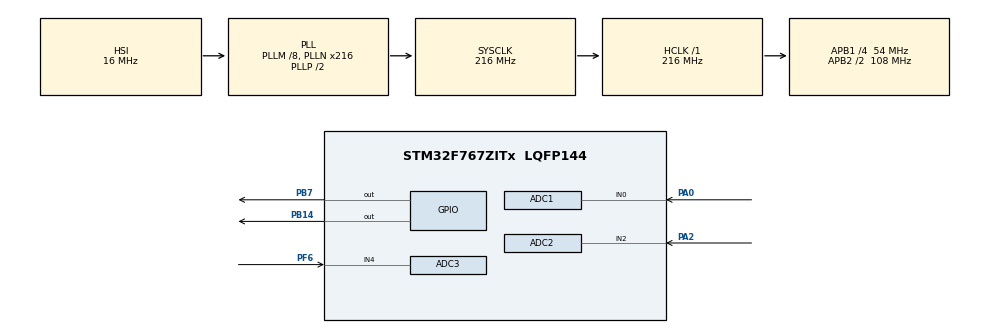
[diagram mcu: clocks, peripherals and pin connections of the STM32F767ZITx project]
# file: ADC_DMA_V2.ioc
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ADC1.Channel-0\#ChannelRegularConversion=ADC_CHANNEL_0
ADC1.DMAAccessMode=ADC_DMAACCESSMODE_1
ADC1.Mode=ADC_TRIPLEMODE_REGSIMULT
ADC1.NbrOfConversionFlag=1
ADC1.Rank-0\#ChannelRegularConversion=1
ADC1.SamplingTime-0\#ChannelRegularConversion=ADC_SAMPLETIME_3CYCLES
ADC1.master=1
ADC2.Channel-0\#ChannelRegularConversion=ADC_CHANNEL_2
ADC2.DMAAccessMode=ADC_DMAACCESSMODE_1
ADC2.Mode=ADC_TRIPLEMODE_REGSIMULT
ADC2.NbrOfConversionFlag=1
ADC2.Rank-0\#ChannelRegularConversion=1
ADC2.SamplingTime-0\#ChannelRegularConversion=ADC_SAMPLETIME_3CYCLES
ADC3.Channel-0\#ChannelRegularConversion=ADC_CHANNEL_4
ADC3.DMAAccessMode=ADC_DMAACCESSMODE_1
ADC3.Mode=ADC_TRIPLEMODE_REGSIMULT
ADC3.NbrOfConversionFlag=1
ADC3.Rank-0\#ChannelRegularConversion=1
ADC3.SamplingTime-0\#ChannelRegularConversion=ADC_SAMPLETIME_3CYCLES
Dma.ADC1.2.Direction=DMA_PERIPH_TO_MEMORY
Dma.ADC1.2.FIFOMode=DMA_FIFOMODE_DISABLE
Dma.ADC1.2.Instance=DMA2_Stream0
Dma.ADC1.2.MemDataAlignment=DMA_MDATAALIGN_HALFWORD
Dma.ADC1.2.MemInc=DMA_MINC_ENABLE
Dma.ADC1.2.Mode=DMA_CIRCULAR
Dma.ADC1.2.PeriphDataAlignment=DMA_PDATAALIGN_HALFWORD
Dma.ADC1.2.PeriphInc=DMA_PINC_DISABLE
Dma.ADC1.2.Priority=DMA_PRIORITY_LOW
Dma.ADC2.1.Direction=DMA_PERIPH_TO_MEMORY
Dma.ADC2.1.FIFOMode=DMA_FIFOMODE_DISABLE
Dma.ADC2.1.Instance=DMA2_Stream2
Dma.ADC2.1.MemDataAlignment=DMA_MDATAALIGN_HALFWORD
Dma.ADC2.1.MemInc=DMA_MINC_ENABLE
Dma.ADC2.1.Mode=DMA_CIRCULAR
Dma.ADC2.1.PeriphDataAlignment=DMA_PDATAALIGN_HALFWORD
Dma.ADC2.1.PeriphInc=DMA_PINC_DISABLE
Dma.ADC2.1.Priority=DMA_PRIORITY_LOW
Dma.ADC3.0.Direction=DMA_PERIPH_TO_MEMORY
Dma.ADC3.0.FIFOMode=DMA_FIFOMODE_DISABLE
Dma.ADC3.0.Instance=DMA2_Stream1
Dma.ADC3.0.MemDataAlignment=DMA_MDATAALIGN_HALFWORD
Dma.ADC3.0.MemInc=DMA_MINC_ENABLE
Dma.ADC3.0.Mode=DMA_CIRCULAR
Dma.ADC3.0.PeriphDataAlignment=DMA_PDATAALIGN_HALFWORD
Dma.ADC3.0.PeriphInc=DMA_PINC_DISABLE
Dma.ADC3.0.Priority=DMA_PRIORITY_LOW
Dma.Request0=ADC3
Dma.Request1=ADC2
Dma.Request2=ADC1
Mcu.Family=STM32F7
Mcu.Name=STM32F767ZITx
Mcu.Package=LQFP144
NVIC.ADC_IRQn=true\:0\:0\:true\:false\:true\:true\:true
NVIC.DMA2_Stream0_IRQn=true\:0\:0\:false\:false\:true\:false\:true
NVIC.DMA2_Stream1_IRQn=true\:0\:0\:false\:false\:true\:false\:true
NVIC.DMA2_Stream2_IRQn=true\:0\:0\:false\:false\:true\:false\:true
NVIC.PriorityGroup=NVIC_PRIORITYGROUP_4
NVIC.TIM6_DAC_IRQn=true\:0\:0\:false\:false\:true\:true\:true
PA0/WKUP.Signal=ADCx_IN0
PA2.Signal=ADCx_IN2
PB14.Signal=GPIO_Output
PB7.Signal=GPIO_Output
PF6.Mode=IN4
PF6.Signal=ADC3_IN4
PH0/OSC_IN.Mode=HSE-External-Oscillator
PH0/OSC_IN.Signal=RCC_OSC_IN
PH1/OSC_OUT.Mode=HSE-External-Oscillator
PH1/OSC_OUT.Signal=RCC_OSC_OUT
ProjectManager.HeapSize=0x200
ProjectManager.StackSize=0x400
ProjectManager.TargetToolchain=STM32CubeIDE
RCC.48MHZClocksFreq_Value=24000000
RCC.AHBFreq_Value=216000000
RCC.APB1CLKDivider=RCC_HCLK_DIV4
RCC.APB1Freq_Value=54000000
RCC.APB1TimFreq_Value=108000000
RCC.APB2CLKDivider=RCC_HCLK_DIV2
RCC.APB2Freq_Value=108000000
RCC.APB2TimFreq_Value=216000000
RCC.CortexFreq_Value=216000000
RCC.HCLKFreq_Value=216000000
RCC.HSE_VALUE=8000000
RCC.HSI_VALUE=16000000
RCC.LSE_VALUE=32768
RCC.PLLM=8
RCC.PLLMUL=RCC_PLL_MUL9
RCC.PLLN=216
RCC.PLLQ=4
RCC.PRESCALERUSB=RCC_USBCLKSOURCE_PLL_DIV1_5
RCC.SYSCLKFreq_VALUE=216000000
RCC.SYSCLKSource=RCC_SYSCLKSOURCE_PLLCLK
RCC.SYSCLKSourceVirtual=RCC_SYSCLKSOURCE_PLLCLK
RCC.USBFreq_Value=108000000
RCC.VCOOutputFreq_Value=432000000
SH.ADCx_IN0.0=ADC1_IN0,IN0
SH.ADCx_IN2.0=ADC2_IN2,IN2
VP_TIM6_VS_ClockSourceINT.Mode=Enable_Timer
board=NUCLEO-F767ZI

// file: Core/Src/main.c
/* USER CODE BEGIN Header */
/**
  ******************************************************************************
  * @file           : main.c
  * @brief          : Main program body
  ******************************************************************************
  * @attention
  *
  * Copyright (c) 2021 STMicroelectronics.
  * All rights reserved.
  *
  * This software is licensed under terms that can be found in the LICENSE file
  * in the root directory of this software component.
  * If no LICENSE file comes with this software, it is provided AS-IS.
  *
  ******************************************************************************
  */
/* USER CODE END Header */
#include "main.h"
#include "adc.h"
#include "dma.h"
#include "tim.h"
#include "gpio.h"

/* USER CODE BEGIN PTD */
typedef struct
{
  uint32_t u32APB1TimerClock;
  uint32_t u32APB2TimerClock;
} sTimerClocks_t;
typedef sTimerClocks_t* psTimerClocks_t;
/* USER CODE END PTD */

/* USER CODE BEGIN PD */
#define BUF_LEN (4u)
/* USER CODE END PD */

/* USER CODE BEGIN PV */
uint16_t au16Val1[3u][BUF_LEN];
uint16_t au16Val2[3u][BUF_LEN];
/* USER CODE END PV */

void SystemClock_Config(void);
/* USER CODE BEGIN PFP */
void vCalcTimerClocks(psTimerClocks_t const psTimerClocks);
/* USER CODE END PFP */

int main(void)
{

  /* MCU Configuration--------------------------------------------------------*/

  /* Reset of all peripherals, Initializes the Flash interface and the Systick. */
  HAL_Init();

  /* Configure the system clock */
  SystemClock_Config();

  /* Initialize all configured peripherals */
  MX_GPIO_Init();
  MX_DMA_Init();
  MX_ADC1_Init();
  MX_ADC2_Init();
  MX_ADC3_Init();
  MX_TIM6_Init();
  /* USER CODE BEGIN 2 */
  sTimerClocks_t sTimerClocks = {0u};
  vCalcTimerClocks(&sTimerClocks);

  //ADC
  // Generate ADC Interrupt for Injected channels
  hadc1.Instance->CR1 |= ADC_CR1_JEOCIE | ADC_CR1_EOCIE;
  hadc2.Instance->CR1 |= ADC_CR1_JEOCIE | ADC_CR1_EOCIE;
  hadc3.Instance->CR1 |= ADC_CR1_JEOCIE | ADC_CR1_EOCIE;

  // Power on ADCs
  hadc1.Instance->CR2 |= ADC_CR2_ADON | ADC_CR2_DMA | ADC_CR2_DDS;
  hadc2.Instance->CR2 |= ADC_CR2_ADON | ADC_CR2_DMA | ADC_CR2_DDS;
  hadc3.Instance->CR2 |= ADC_CR2_ADON | ADC_CR2_DMA | ADC_CR2_DDS;

  hadc1.DMA_Handle->Instance->CR &= ~(DMA_SxCR_EN);
  while(hadc1.DMA_Handle->Instance->CR & DMA_SxCR_EN);

  DMA2->LIFCR = 0x0F7D0F7D;
  DMA2->HIFCR = 0x0F7D0F7D;

  hadc1.DMA_Handle->Instance->CR &= ~(DMA_SxCR_TCIE | DMA_SxCR_HTIE | DMA_SxCR_TEIE | DMA_SxCR_DMEIE);
  hadc1.DMA_Handle->Instance->CR |= (DMA_SxCR_TEIE | DMA_SxCR_DMEIE | DMA_SxCR_DBM);
  hadc1.DMA_Handle->Instance->M0AR = (uint32_t)(&(au16Val1[0u][0u]));
  hadc1.DMA_Handle->Instance->M1AR = (uint32_t)(&(au16Val2[0u][0u]));
  hadc1.DMA_Handle->Instance->NDTR = BUF_LEN;
  hadc1.DMA_Handle->Instance->PAR = (uint32_t)(&hadc1.Instance->DR);

  hadc1.DMA_Handle->Instance->CR |= (DMA_SxCR_EN);

  hadc2.DMA_Handle->Instance->CR &= ~(DMA_SxCR_EN);
  while(hadc2.DMA_Handle->Instance->CR & DMA_SxCR_EN);

  DMA2->LIFCR = 0x0F7D0F7D;
  DMA2->HIFCR = 0x0F7D0F7D;

  hadc2.DMA_Handle->Instance->CR &= ~(DMA_SxCR_TCIE | DMA_SxCR_HTIE | DMA_SxCR_TEIE | DMA_SxCR_DMEIE);
  hadc2.DMA_Handle->Instance->CR |= (DMA_SxCR_TEIE | DMA_SxCR_DMEIE | DMA_SxCR_DBM);
  hadc2.DMA_Handle->Instance->M0AR = (uint32_t)(&(au16Val1[1u][0u]));
  hadc2.DMA_Handle->Instance->M1AR = (uint32_t)(&(au16Val2[1u][0u]));
  hadc2.DMA_Handle->Instance->NDTR = BUF_LEN;
  hadc2.DMA_Handle->Instance->PAR = (uint32_t)(&hadc2.Instance->DR);

  hadc2.DMA_Handle->Instance->CR |= (DMA_SxCR_EN);

  hadc3.DMA_Handle->Instance->CR &= ~(DMA_SxCR_EN);
  while(hadc3.DMA_Handle->Instance->CR & DMA_SxCR_EN);

  DMA2->LIFCR = 0x0F7D0F7D;
  DMA2->HIFCR = 0x0F7D0F7D;

  hadc3.DMA_Handle->Instance->CR &= ~(DMA_SxCR_TCIE | DMA_SxCR_HTIE | DMA_SxCR_TEIE | DMA_SxCR_DMEIE);
  hadc3.DMA_Handle->Instance->CR |= (DMA_SxCR_TEIE | DMA_SxCR_DMEIE | DMA_SxCR_DBM);
  hadc3.DMA_Handle->Instance->M0AR = (uint32_t)(&(au16Val1[2u][0u]));
  hadc3.DMA_Handle->Instance->M1AR = (uint32_t)(&(au16Val2[2u][0u]));
  hadc3.DMA_Handle->Instance->NDTR = BUF_LEN;
  hadc3.DMA_Handle->Instance->PAR = (uint32_t)(&hadc3.Instance->DR);

  hadc3.DMA_Handle->Instance->CR |= (DMA_SxCR_EN);

  htim6.Instance->DIER |= TIM_DIER_UIE;
  htim6.Instance->PSC = 10000u-1u;
  htim6.Instance->ARR = (uint32_t)(1u * sTimerClocks.u32APB1TimerClock / (htim6.Instance->PSC + 1u) - 1u);
  htim6.Instance->CR1 |= TIM_CR1_CEN;

  /* USER CODE END 2 */

  /* Infinite loop */
  while (1)
  {

  }
}

void SystemClock_Config(void)
{
  RCC_OscInitTypeDef RCC_OscInitStruct = {0};
  RCC_ClkInitTypeDef RCC_ClkInitStruct = {0};

  /** Configure the main internal regulator output voltage
  */
  __HAL_RCC_PWR_CLK_ENABLE();
  __HAL_PWR_VOLTAGESCALING_CONFIG(PWR_REGULATOR_VOLTAGE_SCALE1);
  /** Initializes the RCC Oscillators according to the specified parameters
  * in the RCC_OscInitTypeDef structure.
  */
  RCC_OscInitStruct.OscillatorType = RCC_OSCILLATORTYPE_HSI;
  RCC_OscInitStruct.HSIState = RCC_HSI_ON;
  RCC_OscInitStruct.HSICalibrationValue = RCC_HSICALIBRATION_DEFAULT;
  RCC_OscInitStruct.PLL.PLLState = RCC_PLL_ON;
  RCC_OscInitStruct.PLL.PLLSource = RCC_PLLSOURCE_HSI;
  RCC_OscInitStruct.PLL.PLLM = 8;
  RCC_OscInitStruct.PLL.PLLN = 216;
  RCC_OscInitStruct.PLL.PLLP = RCC_PLLP_DIV2;
  RCC_OscInitStruct.PLL.PLLQ = 4;
  RCC_OscInitStruct.PLL.PLLR = 2;
  if (HAL_RCC_OscConfig(&RCC_OscInitStruct) != HAL_OK)
  {
    Error_Handler();
  }
  /** Activate the Over-Drive mode
  */
  if (HAL_PWREx_EnableOverDrive() != HAL_OK)
  {
    Error_Handler();
  }
  /** Initializes the CPU, AHB and APB buses clocks
  */
  RCC_ClkInitStruct.ClockType = RCC_CLOCKTYPE_HCLK|RCC_CLOCKTYPE_SYSCLK
                              |RCC_CLOCKTYPE_PCLK1|RCC_CLOCKTYPE_PCLK2;
  RCC_ClkInitStruct.SYSCLKSource = RCC_SYSCLKSOURCE_PLLCLK;
  RCC_ClkInitStruct.AHBCLKDivider = RCC_SYSCLK_DIV1;
  RCC_ClkInitStruct.APB1CLKDivider = RCC_HCLK_DIV4;
  RCC_ClkInitStruct.APB2CLKDivider = RCC_HCLK_DIV2;

  if (HAL_RCC_ClockConfig(&RCC_ClkInitStruct, FLASH_LATENCY_7) != HAL_OK)
  {
    Error_Handler();
  }
}

/* USER CODE BEGIN 4 */
void vCalcTimerClocks(psTimerClocks_t const psTimerClocks)
{
    uint32_t u32AHBPrescaler = 0u;
    uint32_t u32APB1Prescaler = 0u;
    uint32_t u32APB2Prescaler = 0u;

    switch(RCC->CFGR & RCC_CFGR_HPRE)
    {
      case RCC_CFGR_HPRE_DIV2: u32AHBPrescaler = 2u; break;
      case RCC_CFGR_HPRE_DIV4: u32AHBPrescaler = 4u; break;
      case RCC_CFGR_HPRE_DIV16: u32AHBPrescaler = 16u; break;
      case RCC_CFGR_HPRE_DIV64: u32AHBPrescaler = 64u; break;
      case RCC_CFGR_HPRE_DIV128: u32AHBPrescaler = 128u; break;
      case RCC_CFGR_HPRE_DIV256: u32AHBPrescaler = 256u; break;
      case RCC_CFGR_HPRE_DIV512: u32AHBPrescaler = 512u; break;
      default: u32AHBPrescaler = 1u; break;
    }

    switch(RCC->CFGR & RCC_CFGR_PPRE1)
    {
      case RCC_CFGR_PPRE1_DIV2: u32APB1Prescaler = 2u; break;
      case RCC_CFGR_PPRE1_DIV4: u32APB1Prescaler = 4u; break;
      case RCC_CFGR_PPRE1_DIV8: u32APB1Prescaler = 8u; break;
      case RCC_CFGR_PPRE1_DIV16: u32APB1Prescaler = 16u; break;
      default: u32APB1Prescaler = 1u; break;
    }

    switch(RCC->CFGR & RCC_CFGR_PPRE1)
    {
      case RCC_CFGR_PPRE2_DIV2: u32APB2Prescaler = 2u; break;
      case RCC_CFGR_PPRE2_DIV4: u32APB2Prescaler = 4u; break;
      case RCC_CFGR_PPRE2_DIV8: u32APB2Prescaler = 8u; break;
      case RCC_CFGR_PPRE2_DIV16: u32APB2Prescaler = 16u; break;
      default: u32APB2Prescaler = 1u; break;
    }

    if (RCC->DCKCFGR1 & RCC_DCKCFGR1_TIMPRE)
    {
      if ((u32APB1Prescaler == 1u) || (u32APB1Prescaler == 2u) || (u32APB1Prescaler == 4u))
      {
	psTimerClocks->u32APB1TimerClock = SystemCoreClock / u32AHBPrescaler;
      }
      else
      {
	psTimerClocks->u32APB1TimerClock = SystemCoreClock * 4u / u32AHBPrescaler / u32APB1Prescaler;
      }

      if ((u32APB2Prescaler == 1u) || (u32APB2Prescaler == 2u) || (u32APB2Prescaler == 4u))
      {
	psTimerClocks->u32APB2TimerClock = SystemCoreClock / u32AHBPrescaler;
      }
      else
      {
	psTimerClocks->u32APB2TimerClock = SystemCoreClock * 4u / u32AHBPrescaler / u32APB2Prescaler;
      }
    }
    else
    {
      if (u32APB1Prescaler == 1u)
      {
	psTimerClocks->u32APB1TimerClock = SystemCoreClock / u32AHBPrescaler / u32APB1Prescaler;
      }
      else
      {
	psTimerClocks->u32APB1TimerClock = SystemCoreClock * 2u / u32AHBPrescaler / u32APB1Prescaler;
      }

      if (u32APB2Prescaler == 1u)
      {
	psTimerClocks->u32APB2TimerClock = SystemCoreClock / u32AHBPrescaler / u32APB2Prescaler;
      }
      else
      {
	psTimerClocks->u32APB2TimerClock = SystemCoreClock * 2u / u32AHBPrescaler / u32APB2Prescaler;
      }
    }
}

/* USER CODE END 4 */

void Error_Handler(void)
{
  /* USER CODE BEGIN Error_Handler_Debug */
  /* User can add his own implementation to report the HAL error return state */
  __disable_irq();
  GPIOB->BSRR = GPIO_PIN_14;
  while (1)
  {
  }
  /* USER CODE END Error_Handler_Debug */
}
